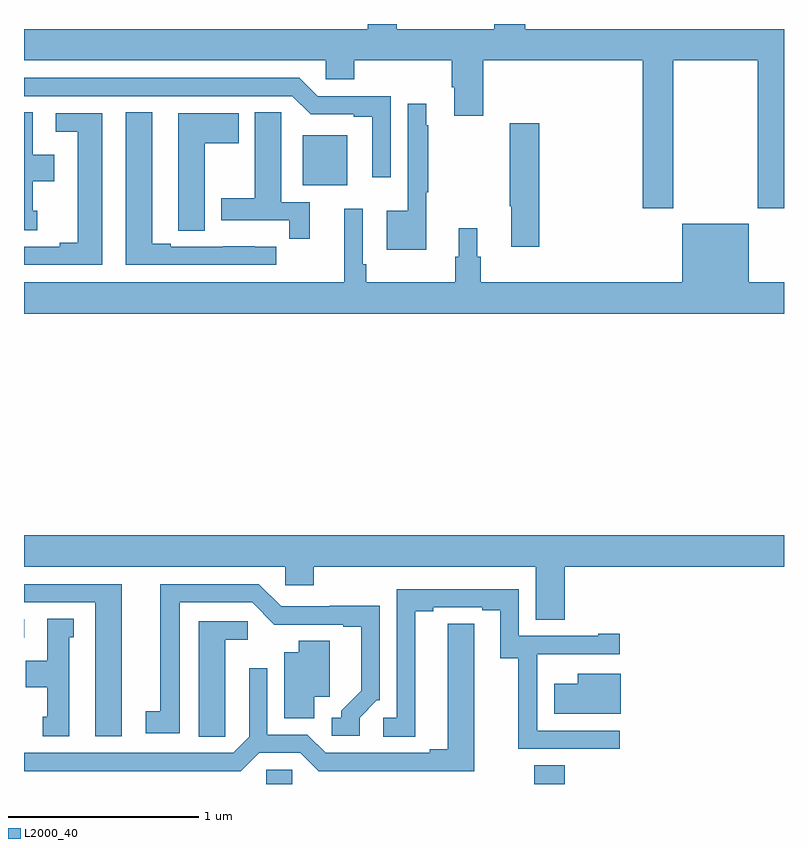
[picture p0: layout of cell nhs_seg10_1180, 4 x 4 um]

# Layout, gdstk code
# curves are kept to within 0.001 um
import gdstk
lib = gdstk.Library(unit=1e-6, precision=1e-09)
def R(c, l, rs):  # rectangles x0, y0, x1, y1
    for r in rs: c.add(gdstk.rectangle(r[:2], r[2:], *l))
def P(c, l, *ps):  # polygons
    for p in ps: c.add(gdstk.Polygon(p, *l))
L2000_40 = (2000, 40)

nhs_seg10_1180 = lib.new_cell('nhs_seg10_1180')
R(nhs_seg10_1180, L2000_40, [(172.275,1304.5,172.413,1304.574), (173.686,1304.5,173.846,1304.6), (171,1305.27,171.001,1305.366), (172.466,1307.651,172.702,1307.914)])
P(nhs_seg10_1180, L2000_40, [(173.639,1308.5),(173.474,1308.5),(173.474,1308.472),(172.961,1308.472),(172.961,1308.5),(172.809,1308.5),(172.809,1308.472),(171,1308.472),(171,1308.308),(172.587,1308.308),(172.587,1308.21),(172.739,1308.21),(172.739,1308.308),(173.252,1308.308),(173.252,1308.166),(173.264,1308.166),(173.264,1308.018),(173.417,1308.018),(173.417,1308.308),(174.257,1308.308),(174.257,1307.529),(174.417,1307.529),(174.417,1308.308),(174.862,1308.308),(174.862,1307.529),(175,1307.529),(175,1308.472),(173.639,1308.472)],
  [(172.929,1308.12),(172.545,1308.12),(172.449,1308.216),(171,1308.216),(171,1308.12),(172.413,1308.12),(172.509,1308.024),(172.736,1308.024),(172.736,1308.012),(172.832,1308.012),(172.832,1307.694),(172.929,1307.694)],
  [(173.116,1307.614),(173.128,1307.614),(173.128,1307.966),(173.116,1307.966),(173.116,1308.079),(173.019,1308.079),(173.019,1307.518),(172.91,1307.518),(172.91,1307.312),(173.116,1307.312)],
  [(172.505,1307.562),(172.354,1307.562),(172.354,1307.924),(172.353,1307.924),(172.353,1308.035),(172.214,1308.035),(172.214,1307.583),(172.037,1307.583),(172.037,1307.466),(172.396,1307.466),(172.396,1307.37),(172.505,1307.37)],
  [(171.07,1307.517),(171.046,1307.517),(171.046,1307.672),(171.16,1307.672),(171.16,1307.812),(171.046,1307.812),(171.046,1308.035),(171,1308.035),(171,1307.415),(171.07,1307.415)],
  [(172.327,1307.328),(172.214,1307.328),(172.214,1307.329),(172.048,1307.329),(172.048,1307.328),(171.772,1307.328),(171.772,1307.343),(171.676,1307.343),(171.676,1308.035),(171.536,1308.035),(171.536,1307.232),(172.327,1307.232)],
  [(171.952,1307.872),(172.129,1307.872),(172.129,1308.031),(171.812,1308.031),(171.812,1307.521),(171.813,1307.521),(171.813,1307.413),(171.952,1307.413)],
  [(171.412,1308.03),(171.168,1308.03),(171.168,1307.934),(171.284,1307.934),(171.284,1307.348),(171.188,1307.348),(171.188,1307.328),(171,1307.328),(171,1307.232),(171.412,1307.232)],
  [(173.711,1307.977),(173.557,1307.977),(173.557,1307.54),(173.564,1307.54),(173.564,1307.328),(173.711,1307.328)],
  [(175,1307.14),(174.814,1307.14),(174.814,1307.449),(174.464,1307.449),(174.464,1307.14),(173.405,1307.14),(173.405,1307.274),(173.386,1307.274),(173.386,1307.425),(173.288,1307.425),(173.288,1307.274),(173.269,1307.274),(173.269,1307.14),(172.802,1307.14),(172.802,1307.236),(172.782,1307.236),(172.782,1307.527),(172.685,1307.527),(172.685,1307.14),(171,1307.14),(171,1306.976),(175,1306.976)],
  [(173.846,1305.644),(175,1305.644),(175,1305.808),(171,1305.808),(171,1305.644),(172.374,1305.644),(172.374,1305.546),(172.526,1305.546),(172.526,1305.644),(173.693,1305.644),(173.693,1305.364),(173.846,1305.364)],
  [(172.767,1304.85),(172.857,1304.94),(172.872,1304.94),(172.872,1305.437),(172.609,1305.437),(172.609,1305.435),(172.353,1305.435),(172.236,1305.552),(171.716,1305.552),(171.716,1304.882),(171.642,1304.882),(171.642,1304.766),(171.82,1304.766),(171.82,1305.456),(172.2,1305.456),(172.318,1305.338),(172.679,1305.339),(172.679,1305.327),(172.775,1305.327),(172.775,1304.99),(172.67,1304.885),(172.67,1304.85),(172.62,1304.85),(172.62,1304.754),(172.767,1304.754)],
  [(171.514,1305.552),(171,1305.552),(171,1305.456),(171.374,1305.456),(171.374,1304.751),(171.514,1304.751)],
  [(174.136,1304.781),(173.7,1304.781),(173.7,1305.182),(173.702,1305.182),(173.702,1305.183),(174.136,1305.183),(174.136,1305.292),(174.023,1305.292),(174.023,1305.279),(173.604,1305.279),(173.604,1305.525),(172.962,1305.525),(172.962,1304.85),(172.89,1304.85),(172.89,1304.749),(173.059,1304.749),(173.059,1305.409),(173.155,1305.409),(173.155,1305.429),(173.411,1305.429),(173.411,1305.414),(173.507,1305.414),(173.507,1305.163),(173.602,1305.163),(173.602,1304.685),(174.136,1304.685)],
  [(171.238,1305.273),(171.262,1305.273),(171.262,1305.371),(171.122,1305.371),(171.122,1305.148),(171.008,1305.148),(171.008,1305.008),(171.122,1305.008),(171.122,1304.853),(171.098,1304.853),(171.098,1304.751),(171.238,1304.751)],
  [(172.059,1304.857),(172.06,1304.857),(172.06,1305.26),(172.177,1305.26),(172.177,1305.357),(171.92,1305.357),(171.92,1304.749),(172.059,1304.749)],
  [(172.237,1304.664),(172.455,1304.664),(172.551,1304.568),(173.371,1304.568),(173.37,1305.344),(173.231,1305.344),(173.231,1304.684),(173.135,1304.684),(173.135,1304.664),(172.587,1304.664),(172.491,1304.76),(172.281,1304.76),(172.281,1305.109),(172.185,1305.109),(172.185,1304.748),(172.101,1304.664),(171,1304.664),(171,1304.568),(172.141,1304.568)],
  [(172.528,1304.96),(172.609,1304.96),(172.609,1305.254),(172.445,1305.254),(172.445,1305.193),(172.37,1305.193),(172.37,1304.845),(172.528,1304.845)],
  [(174.142,1305.079),(173.915,1305.079),(173.915,1305.028),(173.79,1305.028),(173.79,1304.87),(174.142,1304.87)])

lib.write_gds('nhs_seg10_1180.gds')
